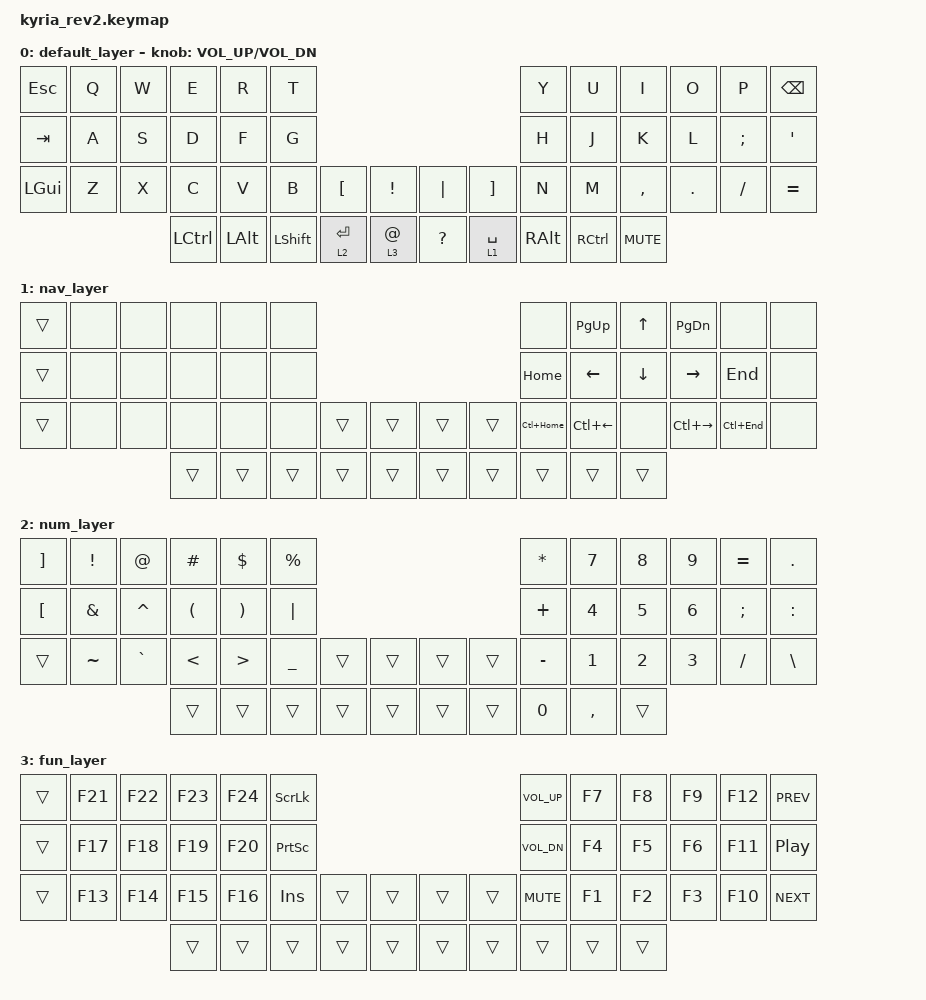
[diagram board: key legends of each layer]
/*
 * Copyright (c) 2021 Jaromír Malenko
 *
 * SPDX-License-Identifier: MIT
 */

#include <behaviors.dtsi>
#include <dt-bindings/zmk/keys.h>
#include <dt-bindings/zmk/bt.h>  /*changes*/

#define BASE  0
#define NAV   1
#define NUM   2
#define FUN   3
#define PREV_WORD LC(LEFT)
#define NEXT_WORD LC(RIGHT)
#define BEG_DOC   LC(HOME)
#define END_DOC   LC(END)/*                            KEY POSITIONS
  ╭────────────────────────╮                 ╭────────────────────────╮
  │  0   1   2   3   4   5 │                 │  6   7   8   9  10  11 │
  │ 12  13  14  15  16  17 ╰───────╮ ╭───────╯ 18  19  20  21  22  23 │
  │ 24  25  26  27  28  29  30  31 │ │ 32  33  34  35  36  37  38  39 │
  ╰───────────╮ 40  41  42  43  44 │ │ 45  46  47  48  49 ╭───────────╯
              ╰────────────────────╯ ╰────────────────────╯            */
/ {
    combos {
        compatible = "zmk,combos";

        combo_grave {
            timeout-ms = <50>;
            key-positions = <0 13>;
            bindings = <&kp GRAVE>;
        };

        combo_exclamation {
            timeout-ms = <50>;
            key-positions = <1 13>;
            bindings = <&kp EXCL>;
        };

        combo_at {
            timeout-ms = <50>;
            key-positions = <2 14>;
            bindings = <&kp AT>;
        };

        combo_hash {
            timeout-ms = <50>;
            key-positions = <3 15>;
            bindings = <&kp HASH>;
        };

        combo_dollar {
            timeout-ms = <50>;
            key-positions = <4 16>;
            bindings = <&kp DLLR>;
        };

        combo_percent {
            timeout-ms = <50>;
            key-positions = <5 17>;
            bindings = <&kp PRCNT>;
        };

        combo_caret {
            timeout-ms = <50>;
            key-positions = <6 18>;
            bindings = <&kp CARET>;
        };

        combo_ampersand {
            timeout-ms = <50>;
            key-positions = <7 19>;
            bindings = <&kp AMPS>;
        };

        combo_asterisk {
            timeout-ms = <50>;
            key-positions = <8 20>;
            bindings = <&kp STAR>;
        };

        combo_left_parenthesis {
            timeout-ms = <50>;
            key-positions = <9 21>;
            bindings = <&kp LPAR>;
        };

        combo_right_parenthesis {
            timeout-ms = <50>;
            key-positions = <10 22>;
            bindings = <&kp RPAR>;
        };

        combo_minus {
            timeout-ms = <50>;
            key-positions = <11 23>;
            bindings = <&kp MINUS>;
        };

        combo_tilde {
            timeout-ms = <50>;
            key-positions = <12 24>;
            bindings = <&kp TILDE>;
        };

        combo_plus {
            timeout-ms = <50>;
            key-positions = <21 37>;
            bindings = <&kp PLUS>;
        };

        combo_equal {
            timeout-ms = <50>;
            key-positions = <22 38>;
            bindings = <&kp EQUAL>;
        };

        combo_underscore {
            timeout-ms = <50>;
            key-positions = <23 39>;
            bindings = <&kp UNDER>;
        };

        combo_clear_bt {
            timeout-ms = <50>;
            key-positions = <30 31>;
            bindings = <&bt BT_CLR>;   
        };

        combo_bt_prev {
            timeout-ms = <50>;
            key-positions = <43 44>;
            bindings = <&bt BT_PRV>;   
        };

        combo_bt_next {
            timeout-ms = <50>;
            key-positions = <45 46>;
            bindings = <&bt BT_NXT>;   
        };

        
    };
};

/ {
    behaviors {
        mo_tog: behavior_mo_tog {
            compatible = "zmk,behavior-hold-tap";
            label = "mo_tog";
            #binding-cells = <2>;
            flavor = "hold-preferred";
            tapping-term-ms = <200>;
            bindings =
                <&mo>,
                <&tog>;
        };
    };
};

/ {
    keymap {
        compatible = "zmk,keymap";

        default_layer {
            /* -------------------------------------------------------------                                            -------------------------------------------------------------
   |    ESC  |    Q    |    W    |    E    |    R    |    T    |                                            |    Y    |    U    |    I    |    O    |    P    |    \    |
   |    TAB  |    A    |    S    |    D    |    F    |    G    |--------------------    --------------------|    H    |    J    |    K    |    L    |    ;    |    '    |
   |    SHIFT|    Z    |    X    |    C    |    V    |    B    |    TAB  |    ESC  |    |    BSCP |   DEL   |    N    |    M    |    ,    |    .    |    /    |   CTRL  |
   ------------------------------|   CTRL  |   GUI   |   ALT   |   SPACE |    num  |    |    nav  |   RET   |   ALT   |   CTRL  |  rotary |------------------------------
                                 ---------------------------------------------------    ---------------------------------------------------                               */

            bindings = <
   &kp ESC   &kp Q   &kp W     &kp E     &kp R      &kp T                                                                         &kp Y      &kp U       &kp I    &kp O     &kp P  &kp BACKSPACE
   &kp TAB   &kp A   &kp S     &kp D     &kp F      &kp G                                                                         &kp H      &kp J       &kp K    &kp L  &kp SEMI        &kp SQT
 &kp LGUI   &kp Z   &kp X     &kp C     &kp V      &kp B  &kp LEFT_BRACKET  &kp EXCLAMATION      &kp PIPE  &kp RIGHT_BRACKET     &kp N      &kp M   &kp COMMA  &kp DOT  &kp FSLH      &kp EQUAL
                            &kp LCTRL  &kp LALT  &kp LSHFT         &lt 2 RET         &lt 3 AT  &kp QUESTION        &lt 1 SPACE  &kp RALT  &kp RCTRL  &kp C_MUTE
            >;

            sensor-bindings = <&inc_dec_kp C_VOL_UP C_VOL_DN>;
        };

        nav_layer {
            bindings = <
 &trans   &none   &none   &none   &none   &none                                         &none     &kp PG_UP    &kp UP      &kp PG_DN        &none   &none
 &trans   &none   &none   &none   &none   &none                                      &kp HOME      &kp LEFT  &kp DOWN      &kp RIGHT      &kp END   &none
 &trans   &none   &none   &none   &none   &none  &trans  &trans  &trans  &trans  &kp LC(HOME)  &kp LC(LEFT)     &none  &kp LC(RIGHT)  &kp LC(END)   &none
                         &trans  &trans  &trans  &trans  &trans  &trans  &trans        &trans        &trans    &trans
            >;
        };

        num_layer {
            bindings = <
 &kp RBKT   &kp EXCL     &kp AT  &kp HASH  &kp DLLR  &kp PRCNT                                   &kp STAR     &kp N7  &kp N8  &kp N9  &kp EQUAL    &kp DOT
 &kp LBKT   &kp AMPS  &kp CARET  &kp LPAR  &kp RPAR   &kp PIPE                                   &kp PLUS     &kp N4  &kp N5  &kp N6   &kp SEMI  &kp COLON
   &trans  &kp TILDE  &kp GRAVE    &kp LT    &kp GT  &kp UNDER  &trans  &trans  &trans  &trans  &kp MINUS     &kp N1  &kp N2  &kp N3   &kp FSLH   &kp BSLH
                                   &trans    &trans     &trans  &trans  &trans  &trans  &trans     &kp N0  &kp COMMA  &trans
            >;
        };

        fun_layer {
            bindings = <
 &trans  &kp F21  &kp F22  &kp F23  &kp F24   &kp SLCK                                  &kp C_VOL_UP  &kp F7  &kp F8  &kp F9  &kp F12        &kp C_PREV
 &trans  &kp F17  &kp F18  &kp F19  &kp F20  &kp PSCRN                                  &kp C_VOL_DN  &kp F4  &kp F5  &kp F6  &kp F11  &kp C_PLAY_PAUSE
 &trans  &kp F13  &kp F14  &kp F15  &kp F16    &kp INS  &trans  &trans  &trans  &trans    &kp C_MUTE  &kp F1  &kp F2  &kp F3  &kp F10        &kp C_NEXT
                            &trans   &trans     &trans  &trans  &trans  &trans  &trans        &trans  &trans  &trans
            >;
        };
    };
};
